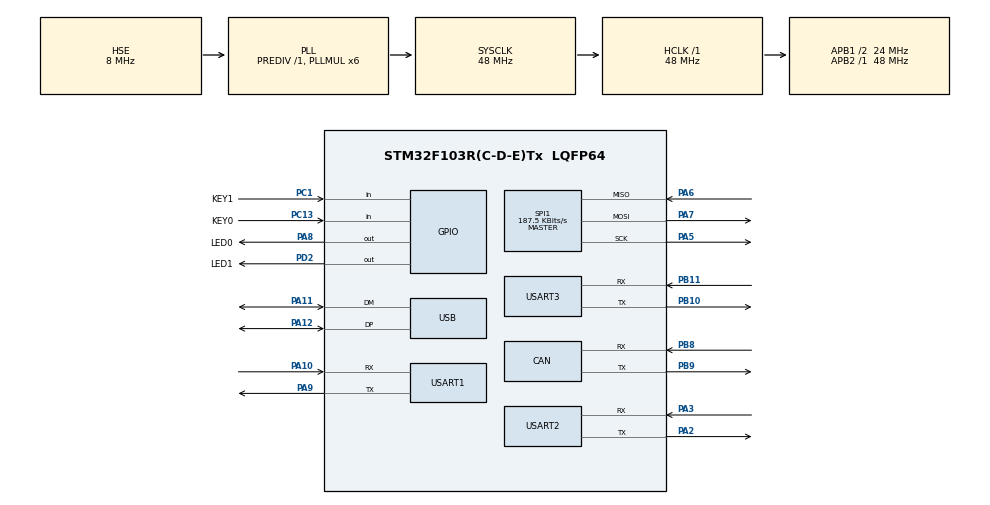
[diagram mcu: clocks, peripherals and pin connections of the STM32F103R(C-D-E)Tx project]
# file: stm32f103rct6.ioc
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Mcu.Family=STM32F1
NVIC.USART3_IRQn=true\:0\:0\:false\:false\:true\:true\:true
Dma.USART3_TX.5.MemInc=DMA_MINC_ENABLE
Dma.USART2_RX.2.PeriphDataAlignment=DMA_PDATAALIGN_BYTE
NVIC.CAN1_RX1_IRQn=true\:0\:0\:false\:false\:true\:true\:true
PA6.Mode=Full_Duplex_Master
USB_DEVICE.CLASS_NAME_FS=MSC
NVIC.DMA1_Channel5_IRQn=true\:0\:0\:false\:false\:true\:false\:true
Dma.USART3_RX.4.Priority=DMA_PRIORITY_LOW
SPI1.VirtualType=VM_MASTER
Dma.USART1_TX.1.MemInc=DMA_MINC_ENABLE
PB10.Mode=Asynchronous
Dma.USART2_TX.3.MemInc=DMA_MINC_ENABLE
VP_RTC_VS_RTC_Activate.Mode=RTC_Enabled
RTC.WeekDay=RTC_WEEKDAY_THURSDAY
PA11.Mode=Device
PD2.GPIO_Speed=GPIO_SPEED_FREQ_MEDIUM
Dma.USART2_TX.3.Direction=DMA_MEMORY_TO_PERIPH
Dma.USART3_RX.4.MemDataAlignment=DMA_MDATAALIGN_BYTE
PB11.Signal=USART3_RX
RCC.SYSCLKSource=RCC_SYSCLKSOURCE_PLLCLK
ProjectManager.StackSize=0x1000
PD1-OSC_OUT.Signal=RCC_OSC_OUT
NVIC.DMA1_Channel3_IRQn=true\:0\:0\:false\:false\:true\:false\:true
PA12.Signal=USB_DP
NVIC.USB_HP_CAN1_TX_IRQn=true\:0\:0\:false\:false\:true\:true\:true
SPI1.CLKPolarity=SPI_POLARITY_HIGH
SPI1.Direction=SPI_DIRECTION_2LINES
Dma.USART3_TX.5.PeriphDataAlignment=DMA_PDATAALIGN_BYTE
RCC.HCLKFreq_Value=48000000
RCC.APB2TimFreq_Value=48000000
TIM3.Period=50-1
Dma.USART2_RX.2.Priority=DMA_PRIORITY_MEDIUM
SPI1.CalculateBaudRate=187.5 KBits/s
Dma.USART2_RX.2.MemDataAlignment=DMA_MDATAALIGN_BYTE
NVIC.CAN1_SCE_IRQn=true\:0\:0\:false\:false\:true\:true\:true
RCC.AHBFreq_Value=48000000
Dma.USART1_RX.0.Priority=DMA_PRIORITY_MEDIUM
Dma.USART3_TX.5.Direction=DMA_MEMORY_TO_PERIPH
PC1.GPIO_PuPd=GPIO_PULLUP
RCC.PLLMUL=RCC_PLL_MUL6
Dma.USART3_RX.4.PeriphInc=DMA_PINC_DISABLE
RTC.Month=RTC_MONTH_AUGUST
PC14-OSC32_IN.Mode=LSE-External-Oscillator
PA14.Mode=Serial_Wire
TIM3.Prescaler=9600-1
NVIC.TIM2_IRQn=true\:0\:0\:false\:false\:true\:true\:true
PA8.Signal=GPIO_Output
TIM4.Period=5-1
Dma.USART1_RX.0.MemInc=DMA_MINC_ENABLE
CAN.CalculateTimeQuantum=666.6666666666666
Dma.USART1_TX.1.PeriphDataAlignment=DMA_PDATAALIGN_BYTE
FATFS._USE_LABEL=1
PB9.Signal=CAN_TX
Mcu.Package=LQFP64
TIM2.Prescaler=9600-1
PA6.Signal=SPI1_MISO
Dma.USART3_TX.5.Priority=DMA_PRIORITY_LOW
USART2.VirtualMode=VM_ASYNC
PC13-TAMPER-RTC.GPIO_PuPd=GPIO_PULLUP
PA10.Signal=USART1_RX
VP_RTC_VS_RTC_Calendar.Mode=RTC_Calendar
Dma.USART2_RX.2.Direction=DMA_PERIPH_TO_MEMORY
Dma.USART3_RX.4.Instance=DMA1_Channel3
FATFS._FS_LOCK=0
Dma.Request2=USART2_RX
Dma.Request1=USART1_TX
RCC.APB1TimFreq_Value=48000000
Dma.Request4=USART3_RX
Dma.Request3=USART2_TX
Dma.USART1_RX.0.Mode=DMA_NORMAL
Dma.Request5=USART3_TX
Dma.USART1_TX.1.Priority=DMA_PRIORITY_MEDIUM
VP_USB_DEVICE_VS_USB_DEVICE_MSC_FS.Mode=MSC_FS
NVIC.DMA1_Channel4_IRQn=true\:0\:0\:false\:false\:true\:false\:true
NVIC.USART1_IRQn=true\:0\:0\:false\:false\:true\:true\:true
Dma.Request0=USART1_RX
SPI1.BaudRatePrescaler=SPI_BAUDRATEPRESCALER_256
PA8.GPIO_Speed=GPIO_SPEED_FREQ_MEDIUM
Dma.USART1_RX.0.Instance=DMA1_Channel5
VP_TIM3_VS_ClockSourceINT.Mode=Internal
USB_DEVICE.USBD_DEBUG_LEVEL=2
PA3.Signal=USART2_RX
PA5.Mode=Full_Duplex_Master
Dma.USART1_TX.1.Direction=DMA_MEMORY_TO_PERIPH
PC15-OSC32_OUT.Mode=LSE-External-Oscillator
Dma.USART2_TX.3.MemDataAlignment=DMA_MDATAALIGN_BYTE
NVIC.DMA1_Channel6_IRQn=true\:0\:0\:false\:false\:true\:false\:true
Dma.USART1_TX.1.Instance=DMA1_Channel4
PA7.Mode=Full_Duplex_Master
Dma.USART1_RX.0.PeriphDataAlignment=DMA_PDATAALIGN_BYTE
PD1-OSC_OUT.Mode=HSE-External-Oscillator
PA10.Mode=Asynchronous
Dma.USART2_TX.3.Instance=DMA1_Channel7
PD2.GPIO_PuPd=GPIO_PULLUP
USB_DEVICE.VirtualModeFS=Msc_FS
PC13-TAMPER-RTC.Signal=GPIO_Input
Dma.USART3_TX.5.Instance=DMA1_Channel2
Dma.USART2_TX.3.PeriphInc=DMA_PINC_DISABLE
SPI1.CLKPhase=SPI_PHASE_2EDGE
PD0-OSC_IN.Signal=RCC_OSC_IN
RCC.APB1CLKDivider=RCC_HCLK_DIV2
PC14-OSC32_IN.Signal=RCC_OSC32_IN
Dma.USART3_RX.4.PeriphDataAlignment=DMA_PDATAALIGN_BYTE
NVIC.USART2_IRQn=true\:0\:0\:false\:false\:true\:true\:true
CAN.CalculateTimeBit=2000
Dma.USART2_RX.2.Mode=DMA_NORMAL
FATFS._VOLUMES=2
PA3.Mode=Asynchronous
PA13.Signal=SYS_JTMS-SWDIO
PA9.Mode=Asynchronous
Dma.USART3_RX.4.Mode=DMA_NORMAL
PA8.GPIO_Label=LED0
Dma.USART2_RX.2.MemInc=DMA_MINC_ENABLE
PB11.Mode=Asynchronous
NVIC.DMA1_Channel2_IRQn=true\:0\:0\:false\:false\:true\:false\:true
ProjectManager.TargetToolchain=MDK-ARM V5
FATFS._CODE_PAGE=1
Dma.USART1_RX.0.Direction=DMA_PERIPH_TO_MEMORY
PB9.Mode=Master
PA9.Signal=USART1_TX
Dma.USART3_TX.5.PeriphInc=DMA_PINC_DISABLE
Dma.USART2_TX.3.PeriphDataAlignment=DMA_PDATAALIGN_BYTE
Dma.USART3_TX.5.Mode=DMA_NORMAL
RCC.USBFreq_Value=48000000
TIM4.Prescaler=9600-1
PC15-OSC32_OUT.Signal=RCC_OSC32_OUT
Dma.USART1_RX.0.PeriphInc=DMA_PINC_DISABLE
VP_FATFS_VS_Generic.Mode=User_defined
PD0-OSC_IN.Mode=HSE-External-Oscillator
PB10.Signal=USART3_TX
PA5.Signal=SPI1_SCK
Dma.USART1_TX.1.MemDataAlignment=DMA_MDATAALIGN_BYTE
board=custom
PC13-TAMPER-RTC.GPIO_Label=KEY0
NVIC.TIM3_IRQn=true\:0\:0\:false\:false\:true\:true\:true
Dma.USART2_RX.2.PeriphInc=DMA_PINC_DISABLE
RCC.APB2Freq_Value=48000000
USB_DEVICE.PRODUCT_STRING_MSC_FS=STM32 F103 Mass Storage
VP_TIM2_VS_ClockSourceINT.Mode=Internal
SPI1.Mode=SPI_MODE_MASTER
Dma.USART2_TX.3.Mode=DMA_NORMAL
NVIC.USB_LP_CAN1_RX0_IRQn=true\:0\:0\:false\:false\:true\:false\:true
PC1.GPIO_Label=KEY1
Dma.USART1_RX.0.MemDataAlignment=DMA_MDATAALIGN_BYTE
TIM2.Period=500-1
PA13.Mode=Serial_Wire
Mcu.Name=STM32F103R(C-D-E)Tx
PA2.Signal=USART2_TX
RCC.SYSCLKFreq_VALUE=48000000
PA12.Mode=Device
Dma.USART2_RX.2.Instance=DMA1_Channel6
USART3.VirtualMode=VM_ASYNC
Dma.USART1_TX.1.Mode=DMA_NORMAL
USART1.VirtualMode=VM_ASYNC
PA11.Signal=USB_DM
PA14.Signal=SYS_JTCK-SWCLK
ProjectManager.HeapSize=0x1000
Dma.USART1_TX.1.PeriphInc=DMA_PINC_DISABLE
Dma.USART3_TX.5.MemDataAlignment=DMA_MDATAALIGN_BYTE
Dma.USART3_RX.4.MemInc=DMA_MINC_ENABLE
PA8.GPIO_PuPd=GPIO_PULLUP
Dma.USART2_TX.3.Priority=DMA_PRIORITY_MEDIUM
VP_TIM4_VS_ClockSourceINT.Mode=Internal
Dma.USART3_RX.4.Direction=DMA_PERIPH_TO_MEMORY
NVIC.PriorityGroup=NVIC_PRIORITYGROUP_4
PB8.Mode=Master
PB8.Signal=CAN_RX
PA2.Mode=Asynchronous
NVIC.DMA1_Channel7_IRQn=true\:0\:0\:false\:false\:true\:false\:true
PD2.Signal=GPIO_Output
NVIC.TIM4_IRQn=true\:0\:0\:false\:false\:true\:true\:true
RCC.APB1Freq_Value=24000000
USB_DEVICE.VirtualMode=Msc
RTC.Date=27
PC1.Signal=GPIO_Input
PD2.GPIO_Label=LED1
PA7.Signal=SPI1_MOSI

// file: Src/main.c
/* USER CODE BEGIN Header */
/**
  ******************************************************************************
  * @file           : main.c
  * @brief          : Main program body
  ******************************************************************************
  * @attention
  *
  * <h2><center>&copy; Copyright (c) 2020 STMicroelectronics.
  * All rights reserved.</center></h2>
  *
  * This software component is licensed by ST under Ultimate Liberty license
  * SLA0044, the "License"; You may not use this file except in compliance with
  * the License. You may obtain a copy of the License at:
  *                             www.st.com/SLA0044
  *
  ******************************************************************************
  */
/* USER CODE END Header */

#include "main.h"
#include "can.h"
#include "dma.h"
#include "fatfs.h"
#include "rtc.h"
#include "spi.h"
#include "tim.h"
#include "usart.h"
#include "usb_device.h"
#include "gpio.h"

/* USER CODE BEGIN Includes */
#include "w25qxx.h"
#include "fatfs_test.h"
/* USER CODE END Includes */

void SystemClock_Config(void);

int main(void)
{

  /* MCU Configuration--------------------------------------------------------*/

  /* Reset of all peripherals, Initializes the Flash interface and the Systick. */
  HAL_Init();

  /* Configure the system clock */
  SystemClock_Config();

  /* Initialize all configured peripherals */
  MX_GPIO_Init();
  MX_DMA_Init();
  MX_RTC_Init();
  MX_TIM2_Init();
  MX_TIM3_Init();
  MX_USART1_UART_Init();
  MX_FATFS_Init();
  MX_USB_DEVICE_Init();
  MX_SPI1_Init();
  MX_CAN_Init();
  MX_TIM4_Init();
  MX_USART2_UART_Init();
  MX_USART3_UART_Init();
  /* USER CODE BEGIN 2 */
    W25QXX_Init();  //初始化 W25Q256
    printf("----- Mian()-----\r\n");
    u8 res = 0;
 	res=f_mount(fs[0],"0:",1); 				//挂载FLASH.
	if(res==0X0D || res== FR_NOT_ENABLED )//FLASH磁盘,FAT文件系统错误,重新格式化FLASH
	{
		printf("FATFS ERROR(%s), Flash Disk Formatting...\r\n", p_FR_Table[res]);	//格式化FLASH
		//res=f_mkfs("0:",1,4096);//格式化FLASH,1,盘符;1,不需要引导区,8个扇区为1个簇
		res=f_mkfs("0:",1,4096);//格式化FLASH,1,盘符;1,不需要引导区,8个扇区为1个簇
		if(res==0){
			f_setlabel((const TCHAR *)"0:MYTEST");	//设置Flash磁盘的名字为：ALIENTEK
            printf("Flash Disk Format Finish \r\n"); //格式化完成
		}else {
            printf("Flash Disk Format Error \r\n");	//格式化失败
        }
		HAL_Delay(1000);
	}else if (res==0){
        printf("f_mount OK(%s)\r\n", p_FR_Table[res]);
    }else{
        printf("f_mount OK(%s)\r\n", p_FR_Table[res]);
    }

    WriteFileTest("/hello.txt", "tqwert123456\r\n666");

    /*
    while(exf_getfree("0:",&total,&free))	//得到SD卡的总容量和剩余容量
	{
		printf("SD Card Fatfs Error! \r\n");
        HAL_Delay(500);
        HAL_GPIO_TogglePin(LED1_GPIO_Port, LED1_Pin);  //LDE1 闪烁
	}
    */

   HAL_GPIO_WritePin(KEY0_GPIO_Port, KEY0_Pin, GPIO_PIN_RESET);
    HAL_GPIO_WritePin(KEY1_GPIO_Port, KEY1_Pin, GPIO_PIN_RESET);

  /* USER CODE END 2 */

  /* Infinite loop */
    while (1)
    {

    /* USER CODE BEGIN 3 */

/*
    if(HAL_GPIO_ReadPin(KEY0_GPIO_Port, KEY0_Pin) == 0){
        printf("KEY0  press......\r\n");
        WriteFileTest("/KEY0_FILE.txt.txt", "0000000000000\r\n666");
    }
    if(HAL_GPIO_ReadPin(KEY1_GPIO_Port, KEY1_Pin) == 0){
        printf("KEY0  press......\r\n");
        WriteFileTest("/KEY1_FILE.txt.txt", "11111111111\r\n666");
    }
*/
        printf("----- whiile()-----\r\n");
        HAL_GPIO_TogglePin(LED0_GPIO_Port, LED0_Pin);    //LDE0 闪烁
        HAL_Delay(1000);

    }
  /* USER CODE END 3 */
}

void SystemClock_Config(void)
{
  RCC_OscInitTypeDef RCC_OscInitStruct = {0};
  RCC_ClkInitTypeDef RCC_ClkInitStruct = {0};
  RCC_PeriphCLKInitTypeDef PeriphClkInit = {0};

  /** Initializes the CPU, AHB and APB busses clocks
  */
  RCC_OscInitStruct.OscillatorType = RCC_OSCILLATORTYPE_LSI|RCC_OSCILLATORTYPE_HSE;
  RCC_OscInitStruct.HSEState = RCC_HSE_ON;
  RCC_OscInitStruct.HSEPredivValue = RCC_HSE_PREDIV_DIV1;
  RCC_OscInitStruct.HSIState = RCC_HSI_ON;
  RCC_OscInitStruct.LSIState = RCC_LSI_ON;
  RCC_OscInitStruct.PLL.PLLState = RCC_PLL_ON;
  RCC_OscInitStruct.PLL.PLLSource = RCC_PLLSOURCE_HSE;
  RCC_OscInitStruct.PLL.PLLMUL = RCC_PLL_MUL6;
  if (HAL_RCC_OscConfig(&RCC_OscInitStruct) != HAL_OK)
  {
    Error_Handler();
  }
  /** Initializes the CPU, AHB and APB busses clocks
  */
  RCC_ClkInitStruct.ClockType = RCC_CLOCKTYPE_HCLK|RCC_CLOCKTYPE_SYSCLK
                              |RCC_CLOCKTYPE_PCLK1|RCC_CLOCKTYPE_PCLK2;
  RCC_ClkInitStruct.SYSCLKSource = RCC_SYSCLKSOURCE_PLLCLK;
  RCC_ClkInitStruct.AHBCLKDivider = RCC_SYSCLK_DIV1;
  RCC_ClkInitStruct.APB1CLKDivider = RCC_HCLK_DIV2;
  RCC_ClkInitStruct.APB2CLKDivider = RCC_HCLK_DIV1;

  if (HAL_RCC_ClockConfig(&RCC_ClkInitStruct, FLASH_LATENCY_1) != HAL_OK)
  {
    Error_Handler();
  }
  PeriphClkInit.PeriphClockSelection = RCC_PERIPHCLK_RTC|RCC_PERIPHCLK_USB;
  PeriphClkInit.RTCClockSelection = RCC_RTCCLKSOURCE_LSI;
  PeriphClkInit.UsbClockSelection = RCC_USBCLKSOURCE_PLL;
  if (HAL_RCCEx_PeriphCLKConfig(&PeriphClkInit) != HAL_OK)
  {
    Error_Handler();
  }
}

void Error_Handler(void)
{
}

/************************ (C) COPYRIGHT STMicroelectronics *****END OF FILE****/
